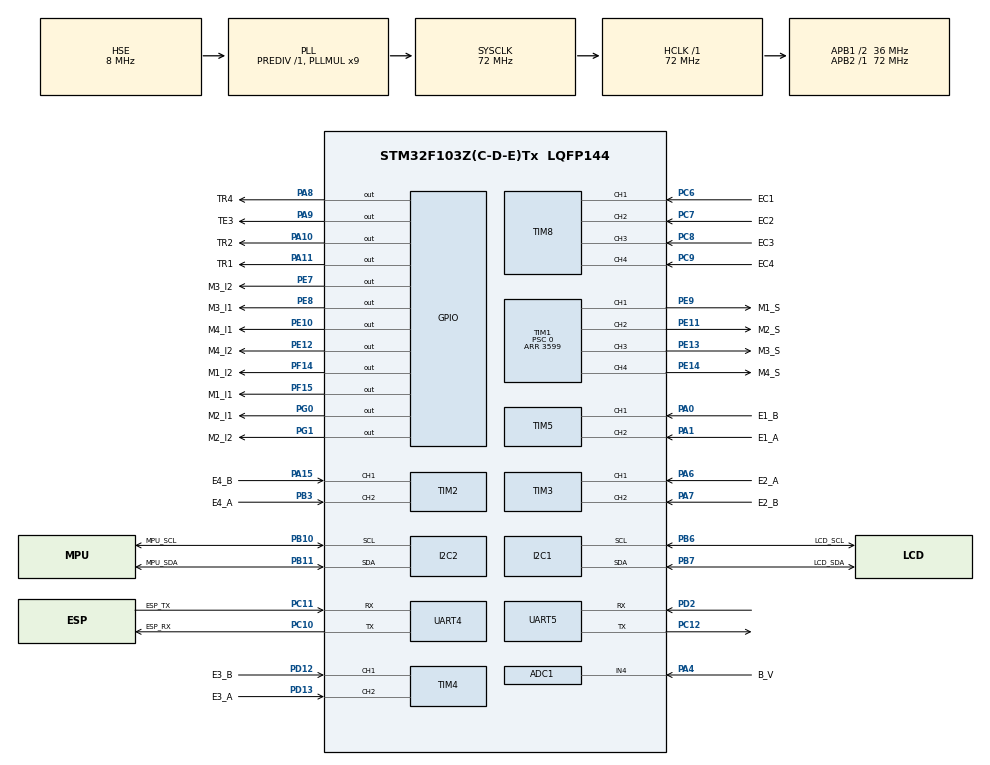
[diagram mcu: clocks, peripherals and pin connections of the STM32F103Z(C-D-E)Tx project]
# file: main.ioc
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ADC1.Channel-1\#ChannelRegularConversion=ADC_CHANNEL_4
ADC1.NbrOfConversionFlag=1
ADC1.Rank-1\#ChannelRegularConversion=1
ADC1.SamplingTime-1\#ChannelRegularConversion=ADC_SAMPLETIME_1CYCLE_5
ADC1.master=1
FREERTOS.Tasks01=defaultTask,24,128,StartDefaultTask,Default,NULL,Dynamic,NULL,NULL
FREERTOS.configUSE_NEWLIB_REENTRANT=1
Mcu.Family=STM32F1
Mcu.Name=STM32F103Z(C-D-E)Tx
Mcu.Package=LQFP144
NVIC.PriorityGroup=NVIC_PRIORITYGROUP_4
NVIC.TIM6_IRQn=true\:15\:0\:false\:false\:true\:false\:false\:true\:true
NVIC.TimeBase=TIM6_IRQn
NVIC.TimeBaseIP=TIM6
NVIC.UART4_IRQn=true\:5\:0\:false\:false\:true\:true\:true\:true\:true
NVIC.UART5_IRQn=true\:5\:0\:false\:false\:true\:true\:true\:true\:true
OSC_IN.Mode=HSE-External-Oscillator
OSC_IN.Signal=RCC_OSC_IN
OSC_OUT.Mode=HSE-External-Oscillator
OSC_OUT.Signal=RCC_OSC_OUT
PA0-WKUP.GPIO_Label=E1_B
PA0-WKUP.Signal=S_TIM5_CH1
PA1.GPIO_Label=E1_A
PA1.Signal=S_TIM5_CH2
PA10.GPIO_Label=TR2
PA10.Signal=GPIO_Output
PA11.GPIO_Label=TR1
PA11.Signal=GPIO_Output
PA13.Mode=Serial_Wire
PA13.Signal=SYS_JTMS-SWDIO
PA14.Mode=Serial_Wire
PA14.Signal=SYS_JTCK-SWCLK
PA15.GPIO_Label=E4_B
PA15.Signal=S_TIM2_CH1_ETR
PA4.GPIO_Label=B_V
PA4.Signal=ADCx_IN4
PA6.GPIO_Label=E2_A
PA6.Signal=S_TIM3_CH1
PA7.GPIO_Label=E2_B
PA7.Signal=S_TIM3_CH2
PA8.GPIO_Label=TR4
PA8.Signal=GPIO_Output
PA9.GPIO_Label=TE3
PA9.Signal=GPIO_Output
PB10.GPIO_Label=MPU_SCL
PB10.Mode=I2C
PB10.Signal=I2C2_SCL
PB11.GPIO_Label=MPU_SDA
PB11.Mode=I2C
PB11.Signal=I2C2_SDA
PB3.GPIO_Label=E4_A
PB3.Signal=S_TIM2_CH2
PB6.GPIO_Label=LCD_SCL
PB6.Mode=I2C
PB6.Signal=I2C1_SCL
PB7.GPIO_Label=LCD_SDA
PB7.Mode=I2C
PB7.Signal=I2C1_SDA
PC10.GPIO_Label=ESP_RX
PC10.Mode=Asynchronous
PC10.Signal=UART4_TX
PC11.GPIO_Label=ESP_TX
PC11.Mode=Asynchronous
PC11.Signal=UART4_RX
PC12.Mode=Asynchronous
PC12.Signal=UART5_TX
PC6.GPIO_Label=EC1
PC6.Signal=S_TIM8_CH1
PC7.GPIO_Label=EC2
PC7.Signal=S_TIM8_CH2
PC8.GPIO_Label=EC3
PC8.Signal=S_TIM8_CH3
PC9.GPIO_Label=EC4
PC9.Signal=S_TIM8_CH4
PD12.GPIO_Label=E3_B
PD12.Signal=S_TIM4_CH1
PD13.GPIO_Label=E3_A
PD13.Signal=S_TIM4_CH2
PD2.Mode=Asynchronous
PD2.Signal=UART5_RX
PE10.GPIO_Label=M4_I1
PE10.Signal=GPIO_Output
PE11.GPIO_Label=M2_S
PE11.Signal=S_TIM1_CH2
PE12.GPIO_Label=M4_I2
PE12.Signal=GPIO_Output
PE13.GPIO_Label=M3_S
PE13.Signal=S_TIM1_CH3
PE14.GPIO_Label=M4_S
PE14.Signal=S_TIM1_CH4
PE7.GPIO_Label=M3_I2
PE7.Signal=GPIO_Output
PE8.GPIO_Label=M3_I1
PE8.Signal=GPIO_Output
PE9.GPIO_Label=M1_S
PE9.Signal=S_TIM1_CH1
PF14.GPIO_Label=M1_I2
PF14.Signal=GPIO_Output
PF15.GPIO_Label=M1_I1
PF15.Signal=GPIO_Output
PG0.GPIO_Label=M2_I1
PG0.Signal=GPIO_Output
PG1.GPIO_Label=M2_I2
PG1.Signal=GPIO_Output
ProjectManager.HeapSize=0x200
ProjectManager.StackSize=0x400
ProjectManager.TargetToolchain=STM32CubeIDE
RCC.ADCPresc=RCC_ADCPCLK2_DIV6
RCC.AHBFreq_Value=72000000
RCC.APB1CLKDivider=RCC_HCLK_DIV2
RCC.APB1Freq_Value=36000000
RCC.APB1TimFreq_Value=72000000
RCC.APB2Freq_Value=72000000
RCC.APB2TimFreq_Value=72000000
RCC.HCLKFreq_Value=72000000
RCC.PLLMUL=RCC_PLL_MUL9
RCC.PLLSourceVirtual=RCC_PLLSOURCE_HSE
RCC.SYSCLKFreq_VALUE=72000000
RCC.SYSCLKSource=RCC_SYSCLKSOURCE_PLLCLK
RCC.USBFreq_Value=72000000
SH.ADCx_IN4.0=ADC1_IN4,IN4
SH.S_TIM1_CH1.0=TIM1_CH1,PWM Generation1 CH1
SH.S_TIM1_CH2.0=TIM1_CH2,PWM Generation2 CH2
SH.S_TIM1_CH3.0=TIM1_CH3,PWM Generation3 CH3
SH.S_TIM1_CH4.0=TIM1_CH4,PWM Generation4 CH4
SH.S_TIM2_CH1_ETR.0=TIM2_CH1,Encoder_Interface
SH.S_TIM2_CH2.0=TIM2_CH2,Encoder_Interface
SH.S_TIM3_CH1.0=TIM3_CH1,Encoder_Interface
SH.S_TIM3_CH2.0=TIM3_CH2,Encoder_Interface
SH.S_TIM4_CH1.0=TIM4_CH1,Encoder_Interface
SH.S_TIM4_CH2.0=TIM4_CH2,Encoder_Interface
SH.S_TIM5_CH1.0=TIM5_CH1,Encoder_Interface
SH.S_TIM5_CH2.0=TIM5_CH2,Encoder_Interface
SH.S_TIM8_CH1.0=TIM8_CH1,Input_Capture1_from_TI1
SH.S_TIM8_CH2.0=TIM8_CH2,Input_Capture2_from_TI2
SH.S_TIM8_CH3.0=TIM8_CH3,Input_Capture3_from_TI3
SH.S_TIM8_CH4.0=TIM8_CH4,Input_Capture4_from_TI4
TIM1.Channel-PWM\ Generation1\ CH1=TIM_CHANNEL_1
TIM1.Channel-PWM\ Generation2\ CH2=TIM_CHANNEL_2
TIM1.Channel-PWM\ Generation3\ CH3=TIM_CHANNEL_3
TIM1.Channel-PWM\ Generation4\ CH4=TIM_CHANNEL_4
TIM1.Period=3599
TIM1.Prescaler=0
TIM8.Channel-Input_Capture1_from_TI1=TIM_CHANNEL_1
TIM8.Channel-Input_Capture2_from_TI2=TIM_CHANNEL_2
TIM8.Channel-Input_Capture3_from_TI3=TIM_CHANNEL_3
TIM8.Channel-Input_Capture4_from_TI4=TIM_CHANNEL_4
UART4.VirtualMode=Asynchronous
UART5.VirtualMode=Asynchronous
VP_FREERTOS_VS_CMSIS_V2.Mode=CMSIS_V2
VP_SYS_VS_tim6.Mode=TIM6
VP_TIM8_VS_ClockSourceINT.Mode=Internal
board=custom

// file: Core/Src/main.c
/* USER CODE BEGIN Header */
/**
  ******************************************************************************
  * @file           : main.c
  * @brief          : Main program body - CMSIS-RTOS V2
  ******************************************************************************
  * @attention
  *
  * Copyright (c) 2026 STMicroelectronics.
  * All rights reserved.
  *
  ******************************************************************************
  */
/* USER CODE END Header */

#include "main.h"
#include "cmsis_os2.h"
#include "adc.h"
#include "i2c.h"
#include "tim.h"
#include "usart.h"
#include "gpio.h"

/* USER CODE BEGIN Includes */
#include "motor.h"
#include "encoder.h"
#include "wheel_control.h"
#include "motion_control.h"
#include "debug_console.h"
#include "chassis_tasks.h"
#include "power_monitor.h"
#include "imu.h"
#include "ultrasonic.h"
/* USER CODE END Includes */

/* USER CODE BEGIN PV */

/*
 * Indicates whether the motor hardware has been initialized.
 * Error_Handler() uses this flag to determine whether the motors
 * can be stopped safely.
 */
static volatile uint8_t motor_hw_ready = 0U;

/* USER CODE END PV */

void SystemClock_Config(void);

int main(void)
{
    ChassisTasks_Status_t chassis_status;

    /* MCU Configuration------------------------------------------------------*/

    HAL_Init();

    SystemClock_Config();

    /* Initialize all configured peripherals */
    MX_GPIO_Init();
    MX_ADC1_Init();
    MX_I2C1_Init();
    MX_TIM2_Init();
    MX_TIM3_Init();
    MX_TIM4_Init();
    MX_TIM5_Init();
    MX_UART4_Init();
    MX_TIM1_Init();
    MX_UART5_Init();
    MX_I2C2_Init();
    MX_TIM8_Init();

    /*
     * Initialize the debug console after UART5 is ready.
     */
    DebugConsole_Init(&huart5);

    /*
     * UART4 ISR calls CMSIS-RTOS V2 APIs, so it must use an
     * RTOS-safe interrupt priority that matches FreeRTOSConfig.h.
     */
    HAL_NVIC_SetPriority(UART4_IRQn, 5U, 0U);
    HAL_NVIC_EnableIRQ(UART4_IRQn);

    /* USER CODE BEGIN 2 */

    Encoder_Init();
    Motor_Init();
    WheelControl_Init();
    MotionControl_Init();

    if (Ultrasonic_Init() != ULTRASONIC_STATUS_OK)
    {
        DebugConsole_WriteText(
            "ERROR: ultrasonic init failed\r\n"
        );

        Error_Handler();
    }

    DebugConsole_WriteText(
        "Ultrasonic init OK\r\n"
    );

    if (IMU_Init(&hi2c2) != IMU_STATUS_OK)
    {
        DebugConsole_WriteText( "ERROR: IMU DMP init failed\r\n" );

        Error_Handler();
    }

    DebugConsole_WriteText( "IMU DMP init OK\r\n" );

    if (PowerMonitor_Init() != POWER_MONITOR_STATUS_OK)
    {
        DebugConsole_WriteText(
            "ERROR: power monitor init failed\r\n"
        );

        Error_Handler();
    }

    motor_hw_ready = 1U;

    DebugConsole_WriteText("Init OK\r\n");

    /* USER CODE END 2 */

    /*
     * Initialize the CMSIS-RTOS V2 kernel.
     */
    DebugConsole_WriteText("RTOS 1: kernel init\r\n");

    if (osKernelInitialize() != osOK)
    {
        DebugConsole_WriteText("ERROR: osKernelInitialize\r\n");
        Error_Handler();
    }

    DebugConsole_WriteText("RTOS 2: kernel init OK\r\n");

    /*
     * CubeMX defaultTask is intentionally not created here.
     * Re-enable MX_FREERTOS_Init() only when objects generated
     * in freertos.c are required.
     */
    /* MX_FREERTOS_Init(); */

    DebugConsole_WriteText("RTOS 3: communication init\r\n");

    chassis_status = ChassisTasks_Init(&huart4,DebugConsole_WriteText);

    if (chassis_status != CHASSIS_TASKS_STATUS_OK)
    {
        DebugConsole_WriteText("ERROR: communication init failed\r\n");
        Error_Handler();
    }

    DebugConsole_WriteText("RTOS 4: communication OK\r\n");

    DebugConsole_WriteText("RTOS 5: create debug console mutex\r\n");

    if (DebugConsole_CreateMutex() == 0U)
    {
        DebugConsole_WriteText("ERROR: debug console mutex create failed\r\n");
        Error_Handler();
    }

    DebugConsole_WriteText("RTOS 6: debug console mutex OK\r\n");

    chassis_status =ChassisTasks_CreateMotorTask();

    if (chassis_status != CHASSIS_TASKS_STATUS_OK)
    {
        DebugConsole_WriteText("ERROR: motor task create failed\r\n");
        Error_Handler();
    }

    DebugConsole_WriteText("RTOS 7: motor task OK\r\n");

    chassis_status = ChassisTasks_CreateImuTask();

    if (chassis_status != CHASSIS_TASKS_STATUS_OK)
    {
        DebugConsole_WriteText(
            "ERROR: IMU task create failed\r\n"
        );

        Error_Handler();
    }

    DebugConsole_WriteText(
        "RTOS: IMU task OK\r\n"
    );

    chassis_status = ChassisTasks_CreateUltrasonicTask();

    if (chassis_status != CHASSIS_TASKS_STATUS_OK)
    {
        DebugConsole_WriteText(
            "ERROR: ultrasonic task create failed\r\n"
        );

        Error_Handler();
    }

    DebugConsole_WriteText(
        "RTOS: ultrasonic task OK\r\n"
    );

    chassis_status = ChassisTasks_CreateDebugTask();

    if (chassis_status != CHASSIS_TASKS_STATUS_OK)
    {
        DebugConsole_WriteText(
            "ERROR: debug task create failed\r\n"
        );

        Error_Handler();
    }

    DebugConsole_WriteText(
        "RTOS 8: debug task OK\r\n"
    );
    DebugConsole_WriteText("RTOS 9: scheduler start\r\n");

    if (osKernelStart() != osOK)
    {
        DebugConsole_WriteText("ERROR: scheduler start failed\r\n");
        Error_Handler();
    }

    /*
     * osKernelStart() does not return when successful.
     */
    Error_Handler();

    while (1)
    {
    }
}

void SystemClock_Config(void)
{
    RCC_OscInitTypeDef RCC_OscInitStruct = {0};
    RCC_ClkInitTypeDef RCC_ClkInitStruct = {0};
    RCC_PeriphCLKInitTypeDef PeriphClkInit = {0};

    RCC_OscInitStruct.OscillatorType = RCC_OSCILLATORTYPE_HSE;
    RCC_OscInitStruct.HSEState = RCC_HSE_ON;
    RCC_OscInitStruct.HSEPredivValue = RCC_HSE_PREDIV_DIV1;
    RCC_OscInitStruct.HSIState = RCC_HSI_ON;
    RCC_OscInitStruct.PLL.PLLState = RCC_PLL_ON;
    RCC_OscInitStruct.PLL.PLLSource = RCC_PLLSOURCE_HSE;
    RCC_OscInitStruct.PLL.PLLMUL = RCC_PLL_MUL9;

    if (HAL_RCC_OscConfig(&RCC_OscInitStruct) != HAL_OK)
    {
        Error_Handler();
    }

    RCC_ClkInitStruct.ClockType = RCC_CLOCKTYPE_HCLK |
                                  RCC_CLOCKTYPE_SYSCLK |
                                  RCC_CLOCKTYPE_PCLK1 |
                                  RCC_CLOCKTYPE_PCLK2;

    RCC_ClkInitStruct.SYSCLKSource = RCC_SYSCLKSOURCE_PLLCLK;
    RCC_ClkInitStruct.AHBCLKDivider = RCC_SYSCLK_DIV1;
    RCC_ClkInitStruct.APB1CLKDivider = RCC_HCLK_DIV2;
    RCC_ClkInitStruct.APB2CLKDivider = RCC_HCLK_DIV1;

    if (HAL_RCC_ClockConfig(&RCC_ClkInitStruct,FLASH_LATENCY_2) != HAL_OK)
    {
        Error_Handler();
    }

    PeriphClkInit.PeriphClockSelection = RCC_PERIPHCLK_ADC;
    PeriphClkInit.AdcClockSelection = RCC_ADCPCLK2_DIV6;

    if (HAL_RCCEx_PeriphCLKConfig(&PeriphClkInit) != HAL_OK)
    {
        Error_Handler();
    }
}

void HAL_TIM_PeriodElapsedCallback(TIM_HandleTypeDef *htim)
{
    if (htim->Instance == TIM6)
    {
        HAL_IncTick();
    }
}

void Error_Handler(void)
{
    __disable_irq();

    if (motor_hw_ready == 1U)
    {
        Motor_Stop_All();
    }

    while (1)
    {
    }
}
